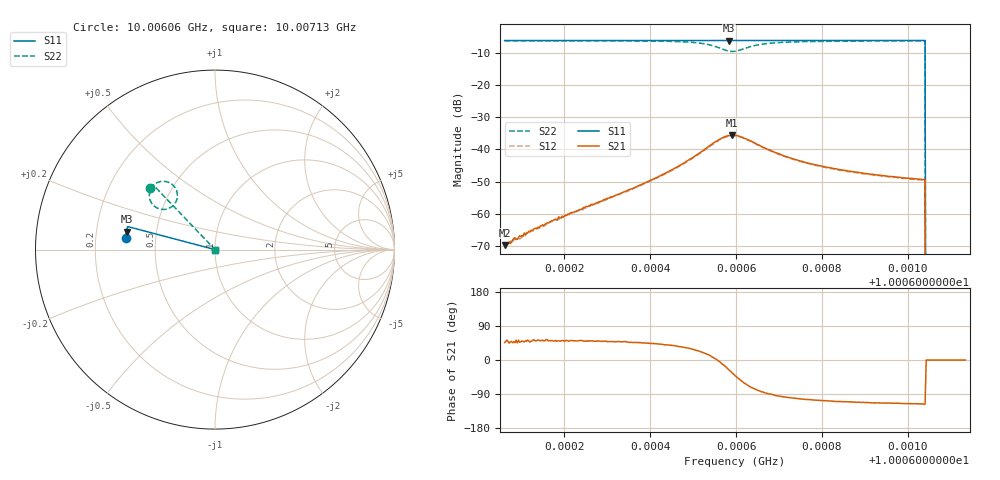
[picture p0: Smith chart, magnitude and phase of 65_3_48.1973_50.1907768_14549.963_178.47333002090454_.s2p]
#  HZ  S  RI  R  50.00
! Rohde & Schwarz Vector Network Analyzer
! Rohde-Schwarz,ZNB20-2Port,1311601062101988,3.16
! Created: UTC 3/20/2024, 11:38:57 AM
! freq[Hz]  re:S11  im:S11  re:S21  im:S21  re:S12  im:S12  re:S22  im:S22
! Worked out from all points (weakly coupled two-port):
!   401 points, 10.00606 GHz to 10.00713 GHz, reference 50 ohm
!   highest |S21| = -35.45 dB at 10.00659 GHz (marker M1); lowest = -69.8 dB at 10.00606 GHz (marker M2)
!   lowest |S11| = -6.0 dB at 10.00658 GHz (marker M3), VSWR 3.01, Z = 16.8 + j4.46 ohm
!   |S11| at or under -10 dB: 10.00704 GHz to end of sweep
!   |S22| runs from - to -6.0 dB; largest |S21 - S12| = 0.0011
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1.0006061e10  -0.4972 0.0664  0.000224 0.000233  0.000183 0.000251  -0.3631 0.3418
1.0006096e10  -0.497 0.0685  0.000307 0.000328  0.000244 0.000318  -0.3608 0.3444
1.000612e10  -0.4967 0.0702  0.000351 0.000381  0.0003 0.000419  -0.3592 0.3462
1.0006171e10  -0.4963 0.0736  0.000479 0.0006  0.000458 0.000588  -0.3553 0.35
1.000624e10  -0.4959 0.0781  0.000727 0.000918  0.000677 0.000913  -0.3491 0.3559
1.0006361e10  -0.4948 0.086  0.00174 0.0018  0.00161 0.00188  -0.3324 0.3681
1.000642e10  -0.494 0.0899  0.00283 0.00256  0.00264 0.00263  -0.318 0.3752
1.0006474e10  -0.4933 0.0934  0.0049 0.00332  0.00461 0.00345  -0.2943 0.3804
1.0006528e10  -0.4923 0.0971  0.00969 0.00309  0.00926 0.00343  -0.2475 0.3694
1.000656e10  -0.4915 0.0988  0.0143 -0.000806  0.0139 -5.66e-05  -0.2126 0.3242
1.0006584e10  -0.4909 0.0996  0.0147 -0.00746  0.0146 -0.00653  -0.2203 0.2618
1.0006589e10  -0.4909 0.0998  0.0143 -0.00906  0.0142 -0.00805  -0.2296 0.2493
1.0006597e10  -0.4909 0.1003  0.0126 -0.011  0.013 -0.00997  -0.2476 0.2345
1.0006619e10  -0.4911 0.1011  0.00733 -0.013  0.00791 -0.0125  -0.3006 0.2247
1.0006659e10  -0.4914 0.1036  0.00117 -0.0111  0.00179 -0.0109  -0.3535 0.2598
1.0006716e10  -0.491 0.1074  -0.00114 -0.0077  -0.000701 -0.0076  -0.3658 0.3002
1.0006777e10  -0.4905 0.1115  -0.00155 -0.00571  -0.00127 -0.00568  -0.3631 0.3232
1.0006863e10  -0.4893 0.1173  -0.00161 -0.00429  -0.00137 -0.00427  -0.3563 0.3407
1.0006957e10  -0.4881 0.1231  -0.00152 -0.00348  -0.00135 -0.00347  -0.3494 0.3525
1.0007035e10  -0.487 0.1281  -0.00148 -0.00305  -0.00131 -0.00307  -0.3443 0.3599
1.0007048e10  0 0  0 0  0 0  0 0
1.0007134e10  0 0  0 0  0 0  0 0
